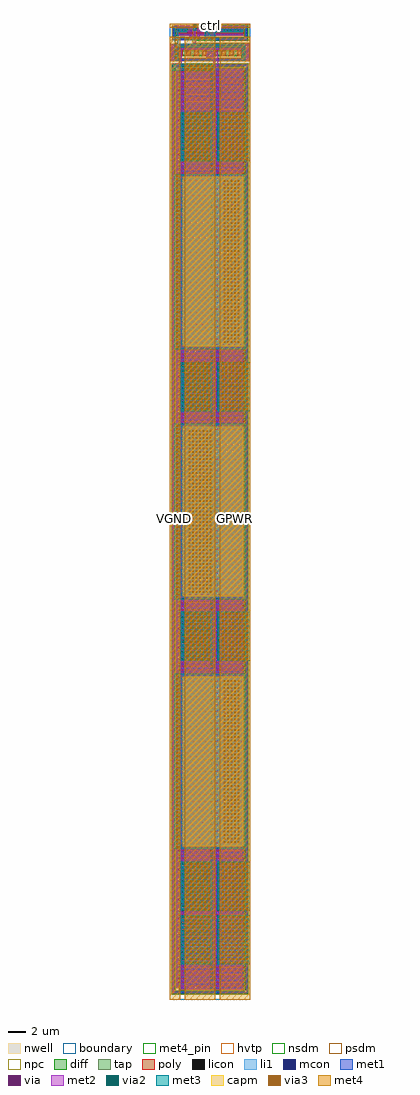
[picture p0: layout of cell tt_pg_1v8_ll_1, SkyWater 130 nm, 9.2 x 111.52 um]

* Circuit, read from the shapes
.subckt tt_pg_1v8_ll_1 GPWR VGND VPWR ctrl
XM1 VGND ctrl n1 VGND sky130_fd_pr__nfet_01v8 w=1.75 l=0.15
XM2 n2 n1 VGND VGND sky130_fd_pr__nfet_01v8 w=0.5 l=0.5
XM3 n3 n1 n2 VGND sky130_fd_pr__nfet_01v8 w=0.5 l=0.5
XM4 n4 n1 n3 VGND sky130_fd_pr__nfet_01v8 w=0.5 l=0.5
XM5 GPWR n1 n4 VGND sky130_fd_pr__nfet_01v8 w=0.5 l=0.5
XM6 n5 n1 GPWR VGND sky130_fd_pr__nfet_01v8 w=0.5 l=0.5
XM7 n6 n1 n5 VGND sky130_fd_pr__nfet_01v8 w=0.5 l=0.5
XM8 n7 n1 n6 VGND sky130_fd_pr__nfet_01v8 w=0.5 l=0.5
XM9 VGND n1 n7 VGND sky130_fd_pr__nfet_01v8 w=0.5 l=0.5
XM10 GPWR n1 VPWR VPWR sky130_fd_pr__pfet_01v8_hvt w=7.25 l=0.15 m=244
XM11 VPWR ctrl n1 VPWR sky130_fd_pr__pfet_01v8_hvt w=5.25 l=0.15
XC12 GPWR VGND sky130_fd_pr__cap_mim_m3_1 w=6.9 l=19.4 m=2
XC13 VPWR VGND sky130_fd_pr__cap_mim_m3_1 w=6.9 l=19.4
.ends

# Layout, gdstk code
import gdstk
lib = gdstk.Library(unit=1e-6, precision=1e-09)
def R(c, l, rs):  # rectangles x0, y0, x1, y1
    for r in rs: c.add(gdstk.rectangle(r[:2], r[2:], *l))
def A(c, l, x, y, w, h, nx, ny, dx, dy):  # array of equal rectangles
    R(c, l, [(x+i*dx, y+j*dy, x+i*dx+w, y+j*dy+h) for i in range(nx) for j in range(ny)])
nwell = (64, 20)
diff = (65, 20)
tap = (65, 44)
poly = (66, 20)
licon = (66, 44)
li1 = (67, 20)
mcon = (67, 44)
met1 = (68, 20)
via = (68, 44)
met2 = (69, 20)
via2 = (69, 44)
met3 = (70, 20)
via3 = (70, 44)
met4_pin = (71, 16)
met4 = (71, 20)
hvtp = (78, 44)
capm = (89, 44)
nsdm = (93, 44)
psdm = (94, 20)
npc = (95, 20)
boundary = (235, 4)

tt_pg_1v8_ll_1 = lib.new_cell('tt_pg_1v8_ll_1')
R(tt_pg_1v8_ll_1, nwell, [(0.15,0.55,9.05,107), (2.97,109.48,9.135,111.4)])
R(tt_pg_1v8_ll_1, diff, [(1.15,1.17,8.4,106.38), (0.63,107.75,0.92,107.88), (4.28,107.75,4.92,107.88), (8.28,107.75,8.57,107.88), (0.63,107.88,8.57,108.38), (0.63,108.38,0.92,108.73), (8.28,108.38,8.57,108.73), (0.8,110.1,2.55,110.78), (3.15,110.1,8.4,110.78)])
R(tt_pg_1v8_ll_1, tap, [(0.33,0.73,8.87,0.9), (0.33,0.9,0.5,106.65), (8.7,0.9,8.87,106.65), (0.33,106.65,8.87,106.82), (0.19,107.31,9.01,107.48), (0.19,107.48,0.36,109), (8.84,107.48,9.01,109), (0.19,109,9.01,109.17), (0.36,109.66,2.52,109.83), (3.18,109.66,8.84,109.83), (0.36,109.83,0.53,111.05), (8.67,109.83,8.84,111.05), (0.36,111.05,2.52,111.22), (3.18,111.05,8.84,111.22)])
A(tt_pg_1v8_ll_1, poly, 0.69, 1.455, 7.84, 0.15, 1, 244, 0, 0.43)
A(tt_pg_1v8_ll_1, poly, 0.69, 1.605, 0.27, 0.28, 1, 243, 0, 0.43)
A(tt_pg_1v8_ll_1, poly, 1, 107.75, 0.5, 0.79, 4, 1, 0.9, 0)
A(tt_pg_1v8_ll_1, poly, 5, 107.75, 0.5, 0.79, 4, 1, 0.9, 0)
R(tt_pg_1v8_ll_1, poly, [(0.69,1.365,0.96,1.455), (0.69,106.095,0.96,106.185), (1,108.54,8.2,108.81), (2.69,110.1,2.96,110.365), (0.67,110.365,8.53,110.515), (2.69,110.515,2.96,110.78)])
A(tt_pg_1v8_ll_1, licon, 0.775, 0.73, 0.17, 0.17, 23, 2, 0.34, 105.92)
A(tt_pg_1v8_ll_1, licon, 0.33, 1.16, 0.17, 0.17, 1, 310, 0, 0.34)
A(tt_pg_1v8_ll_1, licon, 8.7, 1.16, 0.17, 0.17, 1, 310, 0, 0.34)
A(tt_pg_1v8_ll_1, licon, 1.29, 1.23, 0.17, 0.17, 21, 245, 0.34, 0.43)
A(tt_pg_1v8_ll_1, licon, 0.74, 1.5, 0.17, 0.17, 1, 308, 0, 0.34)
A(tt_pg_1v8_ll_1, licon, 0.605, 107.31, 0.17, 0.17, 24, 2, 0.34, 1.69)
A(tt_pg_1v8_ll_1, licon, 0.19, 107.645, 0.17, 0.17, 1, 4, 0, 0.34)
A(tt_pg_1v8_ll_1, licon, 8.84, 107.645, 0.17, 0.17, 1, 4, 0, 0.34)
A(tt_pg_1v8_ll_1, licon, 0.69, 107.815, 0.17, 0.17, 1, 3, 0, 0.34)
A(tt_pg_1v8_ll_1, licon, 8.34, 107.815, 0.17, 0.17, 1, 3, 0, 0.34)
A(tt_pg_1v8_ll_1, licon, 1.295, 108.59, 0.17, 0.17, 20, 1, 0.34, 0)
A(tt_pg_1v8_ll_1, licon, 0.775, 109.66, 0.17, 0.17, 5, 2, 0.34, 1.39)
A(tt_pg_1v8_ll_1, licon, 3.445, 109.66, 0.17, 0.17, 15, 2, 0.34, 1.39)
A(tt_pg_1v8_ll_1, licon, 0.36, 110.015, 0.17, 0.17, 1, 3, 0, 0.34)
A(tt_pg_1v8_ll_1, licon, 8.67, 110.015, 0.17, 0.17, 1, 3, 0, 0.34)
A(tt_pg_1v8_ll_1, licon, 0.91, 110.14, 0.17, 0.17, 5, 2, 0.34, 0.43)
A(tt_pg_1v8_ll_1, licon, 3.31, 110.14, 0.17, 0.17, 15, 2, 0.34, 0.43)
R(tt_pg_1v8_ll_1, licon, [(4.345,107.81,4.515,107.98), (4.685,107.81,4.855,107.98), (4.345,108.15,4.515,108.32), (4.685,108.15,4.855,108.32), (2.74,110.185,2.91,110.355), (2.74,110.525,2.91,110.695)])
A(tt_pg_1v8_ll_1, li1, 1.11, 1.23, 7.33, 0.17, 1, 245, 0, 0.43)
R(tt_pg_1v8_ll_1, li1, [(0.33,0.73,8.87,0.9), (0.33,0.9,0.5,106.65), (8.7,0.9,8.87,106.65), (0.74,1.365,0.91,106.185), (0.33,106.65,8.87,106.82), (0.19,107.31,9.01,107.48), (0.19,107.48,0.36,109), (8.84,107.48,9.01,109), (0.63,107.71,0.92,108.77), (4.28,107.71,4.92,108.42), (8.28,107.71,8.57,108.77), (1.11,108.59,8.11,108.76), (0.19,109,9.01,109.17), (0.36,109.66,2.55,109.83), (3.15,109.66,8.84,109.83), (0.36,109.83,0.53,111.05), (8.67,109.83,8.84,111.05), (2.74,110.1,2.96,110.78), (0.78,110.14,2.57,110.31), (3.13,110.14,8.42,110.31), (0.78,110.57,2.57,110.74), (3.13,110.57,8.42,110.74), (0.36,111.05,2.55,111.22), (3.15,111.05,8.84,111.22)])
A(tt_pg_1v8_ll_1, mcon, 0.735, 0.73, 0.17, 0.17, 22, 2, 0.36, 105.92)
A(tt_pg_1v8_ll_1, mcon, 0.33, 1.13, 0.17, 0.17, 1, 293, 0, 0.36)
A(tt_pg_1v8_ll_1, mcon, 8.7, 1.13, 0.17, 0.17, 1, 293, 0, 0.36)
A(tt_pg_1v8_ll_1, mcon, 1.27, 1.23, 0.17, 0.17, 20, 245, 0.36, 0.43)
A(tt_pg_1v8_ll_1, mcon, 0.74, 1.49, 0.17, 0.17, 1, 291, 0, 0.36)
A(tt_pg_1v8_ll_1, mcon, 0.555, 107.31, 0.17, 0.17, 23, 2, 0.36, 1.69)
A(tt_pg_1v8_ll_1, mcon, 0.19, 107.795, 0.17, 0.17, 1, 3, 0, 0.36)
A(tt_pg_1v8_ll_1, mcon, 0.69, 107.795, 0.17, 0.17, 1, 3, 0, 0.36)
A(tt_pg_1v8_ll_1, mcon, 8.34, 107.795, 0.17, 0.17, 1, 3, 0, 0.36)
A(tt_pg_1v8_ll_1, mcon, 8.84, 107.795, 0.17, 0.17, 1, 3, 0, 0.36)
A(tt_pg_1v8_ll_1, mcon, 1.285, 108.59, 0.17, 0.17, 19, 1, 0.36, 0)
A(tt_pg_1v8_ll_1, mcon, 0.735, 109.66, 0.17, 0.17, 5, 2, 0.36, 1.39)
A(tt_pg_1v8_ll_1, mcon, 3.305, 109.66, 0.17, 0.17, 15, 2, 0.36, 1.39)
A(tt_pg_1v8_ll_1, mcon, 0.36, 109.995, 0.17, 0.17, 1, 3, 0, 0.36)
A(tt_pg_1v8_ll_1, mcon, 8.67, 109.995, 0.17, 0.17, 1, 3, 0, 0.36)
A(tt_pg_1v8_ll_1, mcon, 0.87, 110.14, 0.17, 0.17, 5, 2, 0.36, 0.43)
A(tt_pg_1v8_ll_1, mcon, 3.35, 110.14, 0.17, 0.17, 14, 2, 0.36, 0.43)
R(tt_pg_1v8_ll_1, mcon, [(4.335,107.78,4.505,107.95), (4.695,107.78,4.865,107.95), (4.335,108.14,4.505,108.31), (4.695,108.14,4.865,108.31), (2.765,110.175,2.935,110.345), (2.765,110.535,2.935,110.705)])
A(tt_pg_1v8_ll_1, met1, 1.13, 1.2, 7.29, 0.23, 1, 245, 0, 0.43)
R(tt_pg_1v8_ll_1, met1, [(0.27,0.7,8.9,0.93), (0.27,0.93,0.53,106.62), (8.67,0.93,8.9,106.62), (1.28,1.185,4.58,1.2), (0.69,1.365,0.96,106.185), (1.28,1.43,4.58,1.445), (4.97,1.615,8.27,1.63), (4.97,1.86,8.27,1.875), (1.28,2.045,4.58,2.06), (1.28,2.29,4.58,2.305), (4.97,2.475,8.27,2.49), (4.97,2.72,8.27,2.735), (1.28,2.905,4.58,2.92), (1.28,3.15,4.58,3.165), (4.97,3.335,8.27,3.35), (4.97,3.58,8.27,3.595), (1.28,3.765,4.58,3.78), (1.28,4.01,4.58,4.025), (4.97,4.195,8.27,4.21), (4.97,4.44,8.27,4.455), (1.28,4.625,4.58,4.64), (1.28,4.87,4.58,4.885), (4.97,5.055,8.27,5.07), (4.97,5.3,8.27,5.315), (1.28,5.485,4.58,5.5), (1.28,5.73,4.58,5.745), (4.97,5.915,8.27,5.93), (4.97,6.16,8.27,6.175), (1.28,6.345,4.58,6.36), (1.28,6.59,4.58,6.605), (4.97,6.775,8.27,6.79), (4.97,7.02,8.27,7.035), (1.28,7.205,4.58,7.22), (1.28,7.45,4.58,7.465), (4.97,7.635,8.27,7.65), (4.97,7.88,8.27,7.895), (1.28,8.065,4.58,8.08), (1.28,8.31,4.58,8.325), (4.97,8.495,8.27,8.51), (4.97,8.74,8.27,8.755), (1.28,8.925,4.58,8.94), (1.28,9.17,4.58,9.185), (4.97,9.355,8.27,9.37), (4.97,9.6,8.27,9.615), (1.28,9.785,4.58,9.8), (1.28,10.03,4.58,10.045), (4.97,10.215,8.27,10.23), (4.97,10.46,8.27,10.475), (1.28,10.645,4.58,10.66), (1.28,10.89,4.58,10.905), (4.97,11.075,8.27,11.09), (4.97,11.32,8.27,11.335), (1.28,11.505,4.58,11.52), (1.28,11.75,4.58,11.765), (4.97,11.935,8.27,11.95), (4.97,12.18,8.27,12.195), (1.28,12.365,4.58,12.38), (1.28,12.61,4.58,12.625), (4.97,12.795,8.27,12.81), (4.97,13.04,8.27,13.055), (1.28,13.225,4.58,13.24), (1.28,13.47,4.58,13.485), (4.97,13.655,8.27,13.67), (4.97,13.9,8.27,13.915), (1.28,14.085,4.58,14.1), (1.28,14.33,4.58,14.345), (4.97,14.515,8.27,14.53), (4.97,14.76,8.27,14.775), (1.28,14.945,4.58,14.96), (1.28,15.19,4.58,15.205), (4.97,15.375,8.27,15.39), (4.97,15.62,8.27,15.635), (1.28,15.805,4.58,15.82), (1.28,16.05,4.58,16.065), (4.97,16.235,8.27,16.25), (4.97,16.48,8.27,16.495), (1.28,16.665,4.58,16.68), (1.28,16.91,4.58,16.925), (4.97,17.095,8.27,17.11), (4.97,17.34,8.27,17.355), (1.28,17.525,4.58,17.54), (1.28,17.77,4.58,17.785), (4.97,17.955,8.27,17.97), (4.97,18.2,8.27,18.215), (1.28,18.385,4.58,18.4), (1.28,18.63,4.58,18.645), (4.97,18.815,8.27,18.83), (4.97,19.06,8.27,19.075), (1.28,19.245,4.58,19.26), (1.28,19.49,4.58,19.505), (4.97,19.675,8.27,19.69), (4.97,19.92,8.27,19.935), (1.28,20.105,4.58,20.12), (1.28,20.35,4.58,20.365), (4.97,20.535,8.27,20.55), (4.97,20.78,8.27,20.795), (1.28,20.965,4.58,20.98), (1.28,21.21,4.58,21.225), (4.97,21.395,8.27,21.41), (4.97,21.64,8.27,21.655), (1.28,21.825,4.58,21.84), (1.28,22.07,4.58,22.085), (4.97,22.255,8.27,22.27), (4.97,22.5,8.27,22.515), (1.28,22.685,4.58,22.7), (1.28,22.93,4.58,22.945), (4.97,23.115,8.27,23.13), (4.97,23.36,8.27,23.375), (1.28,23.545,4.58,23.56), (1.28,23.79,4.58,23.805), (4.97,23.975,8.27,23.99), (4.97,24.22,8.27,24.235), (1.28,24.405,4.58,24.42), (1.28,24.65,4.58,24.665), (4.97,24.835,8.27,24.85), (4.97,25.08,8.27,25.095), (1.28,25.265,4.58,25.28), (1.28,25.51,4.58,25.525), (4.97,25.695,8.27,25.71), (4.97,25.94,8.27,25.955), (1.28,26.125,4.58,26.14), (1.28,26.37,4.58,26.385), (4.97,26.555,8.27,26.57), (4.97,26.8,8.27,26.815), (1.28,26.985,4.58,27), (1.28,27.23,4.58,27.245), (4.97,27.415,8.27,27.43), (4.97,27.66,8.27,27.675), (1.28,27.845,4.58,27.86), (1.28,28.09,4.58,28.105), (4.97,28.275,8.27,28.29), (4.97,28.52,8.27,28.535), (1.28,28.705,4.58,28.72), (1.28,28.95,4.58,28.965), (4.97,29.135,8.27,29.15), (4.97,29.38,8.27,29.395), (1.28,29.565,4.58,29.58), (1.28,29.81,4.58,29.825), (4.97,29.995,8.27,30.01), (4.97,30.24,8.27,30.255), (1.28,30.425,4.58,30.44), (1.28,30.67,4.58,30.685), (4.97,30.855,8.27,30.87), (4.97,31.1,8.27,31.115), (1.28,31.285,4.58,31.3), (1.28,31.53,4.58,31.545), (4.97,31.715,8.27,31.73), (4.97,31.96,8.27,31.975), (1.28,32.145,4.58,32.16), (1.28,32.39,4.58,32.405), (4.97,32.575,8.27,32.59), (4.97,32.82,8.27,32.835), (1.28,33.005,4.58,33.02), (1.28,33.25,4.58,33.265), (4.97,33.435,8.27,33.45), (4.97,33.68,8.27,33.695), (1.28,33.865,4.58,33.88), (1.28,34.11,4.58,34.125), (4.97,34.295,8.27,34.31), (4.97,34.54,8.27,34.555), (1.28,34.725,4.58,34.74), (1.28,34.97,4.58,34.985), (4.97,35.155,8.27,35.17), (4.97,35.4,8.27,35.415), (1.28,35.585,4.58,35.6), (1.28,35.83,4.58,35.845), (4.97,36.015,8.27,36.03), (4.97,36.26,8.27,36.275), (1.28,36.445,4.58,36.46), (1.28,36.69,4.58,36.705), (4.97,36.875,8.27,36.89), (4.97,37.12,8.27,37.135), (1.28,37.305,4.58,37.32), (1.28,37.55,4.58,37.565), (4.97,37.735,8.27,37.75), (4.97,37.98,8.27,37.995), (1.28,38.165,4.58,38.18), (1.28,38.41,4.58,38.425), (4.97,38.595,8.27,38.61), (4.97,38.84,8.27,38.855), (1.28,39.025,4.58,39.04), (1.28,39.27,4.58,39.285), (4.97,39.455,8.27,39.47), (4.97,39.7,8.27,39.715), (1.28,39.885,4.58,39.9), (1.28,40.13,4.58,40.145), (4.97,40.315,8.27,40.33), (4.97,40.56,8.27,40.575), (1.28,40.745,4.58,40.76), (1.28,40.99,4.58,41.005), (4.97,41.175,8.27,41.19), (4.97,41.42,8.27,41.435), (1.28,41.605,4.58,41.62), (1.28,41.85,4.58,41.865), (4.97,42.035,8.27,42.05), (4.97,42.28,8.27,42.295), (1.28,42.465,4.58,42.48), (1.28,42.71,4.58,42.725), (4.97,42.895,8.27,42.91), (4.97,43.14,8.27,43.155), (1.28,43.325,4.58,43.34), (1.28,43.57,4.58,43.585), (4.97,43.755,8.27,43.77), (4.97,44,8.27,44.015), (1.28,44.185,4.58,44.2), (1.28,44.43,4.58,44.445), (4.97,44.615,8.27,44.63), (4.97,44.86,8.27,44.875), (1.28,45.045,4.58,45.06), (1.28,45.29,4.58,45.305), (4.97,45.475,8.27,45.49), (4.97,45.72,8.27,45.735), (1.28,45.905,4.58,45.92), (1.28,46.15,4.58,46.165), (4.97,46.335,8.27,46.35), (4.97,46.58,8.27,46.595), (1.28,46.765,4.58,46.78), (1.28,47.01,4.58,47.025), (4.97,47.195,8.27,47.21), (4.97,47.44,8.27,47.455), (1.28,47.625,4.58,47.64), (1.28,47.87,4.58,47.885), (4.97,48.055,8.27,48.07), (4.97,48.3,8.27,48.315), (1.28,48.485,4.58,48.5), (1.28,48.73,4.58,48.745), (4.97,48.915,8.27,48.93), (4.97,49.16,8.27,49.175), (1.28,49.345,4.58,49.36), (1.28,49.59,4.58,49.605), (4.97,49.775,8.27,49.79), (4.97,50.02,8.27,50.035), (1.28,50.205,4.58,50.22), (1.28,50.45,4.58,50.465), (4.97,50.635,8.27,50.65), (4.97,50.88,8.27,50.895), (1.28,51.065,4.58,51.08), (1.28,51.31,4.58,51.325), (4.97,51.495,8.27,51.51), (4.97,51.74,8.27,51.755), (1.28,51.925,4.58,51.94), (1.28,52.17,4.58,52.185), (4.97,52.355,8.27,52.37), (4.97,52.6,8.27,52.615), (1.28,52.785,4.58,52.8), (1.28,53.03,4.58,53.045), (4.97,53.215,8.27,53.23), (4.97,53.46,8.27,53.475), (1.28,53.645,4.58,53.66), (1.28,53.89,4.58,53.905), (4.97,54.075,8.27,54.09), (4.97,54.32,8.27,54.335), (1.28,54.505,4.58,54.52), (1.28,54.75,4.58,54.765), (4.97,54.935,8.27,54.95), (4.97,55.18,8.27,55.195), (1.28,55.365,4.58,55.38), (1.28,55.61,4.58,55.625), (4.97,55.795,8.27,55.81), (4.97,56.04,8.27,56.055), (1.28,56.225,4.58,56.24), (1.28,56.47,4.58,56.485), (4.97,56.655,8.27,56.67), (4.97,56.9,8.27,56.915), (1.28,57.085,4.58,57.1), (1.28,57.33,4.58,57.345), (4.97,57.515,8.27,57.53), (4.97,57.76,8.27,57.775), (1.28,57.945,4.58,57.96), (1.28,58.19,4.58,58.205), (4.97,58.375,8.27,58.39), (4.97,58.62,8.27,58.635), (1.28,58.805,4.58,58.82), (1.28,59.05,4.58,59.065), (4.97,59.235,8.27,59.25), (4.97,59.48,8.27,59.495), (1.28,59.665,4.58,59.68), (1.28,59.91,4.58,59.925), (4.97,60.095,8.27,60.11), (4.97,60.34,8.27,60.355), (1.28,60.525,4.58,60.54), (1.28,60.77,4.58,60.785), (4.97,60.955,8.27,60.97), (4.97,61.2,8.27,61.215), (1.28,61.385,4.58,61.4), (1.28,61.63,4.58,61.645), (4.97,61.815,8.27,61.83), (4.97,62.06,8.27,62.075), (1.28,62.245,4.58,62.26), (1.28,62.49,4.58,62.505), (4.97,62.675,8.27,62.69), (4.97,62.92,8.27,62.935), (1.28,63.105,4.58,63.12), (1.28,63.35,4.58,63.365), (4.97,63.535,8.27,63.55), (4.97,63.78,8.27,63.795), (1.28,63.965,4.58,63.98), (1.28,64.21,4.58,64.225), (4.97,64.395,8.27,64.41), (4.97,64.64,8.27,64.655), (1.28,64.825,4.58,64.84), (1.28,65.07,4.58,65.085), (4.97,65.255,8.27,65.27), (4.97,65.5,8.27,65.515), (1.28,65.685,4.58,65.7), (1.28,65.93,4.58,65.945), (4.97,66.115,8.27,66.13), (4.97,66.36,8.27,66.375), (1.28,66.545,4.58,66.56), (1.28,66.79,4.58,66.805), (4.97,66.975,8.27,66.99), (4.97,67.22,8.27,67.235), (1.28,67.405,4.58,67.42), (1.28,67.65,4.58,67.665), (4.97,67.835,8.27,67.85), (4.97,68.08,8.27,68.095), (1.28,68.265,4.58,68.28), (1.28,68.51,4.58,68.525), (4.97,68.695,8.27,68.71), (4.97,68.94,8.27,68.955), (1.28,69.125,4.58,69.14), (1.28,69.37,4.58,69.385), (4.97,69.555,8.27,69.57), (4.97,69.8,8.27,69.815), (1.28,69.985,4.58,70), (1.28,70.23,4.58,70.245), (4.97,70.415,8.27,70.43), (4.97,70.66,8.27,70.675), (1.28,70.845,4.58,70.86), (1.28,71.09,4.58,71.105), (4.97,71.275,8.27,71.29), (4.97,71.52,8.27,71.535), (1.28,71.705,4.58,71.72), (1.28,71.95,4.58,71.965), (4.97,72.135,8.27,72.15), (4.97,72.38,8.27,72.395), (1.28,72.565,4.58,72.58), (1.28,72.81,4.58,72.825), (4.97,72.995,8.27,73.01), (4.97,73.24,8.27,73.255), (1.28,73.425,4.58,73.44), (1.28,73.67,4.58,73.685), (4.97,73.855,8.27,73.87), (4.97,74.1,8.27,74.115), (1.28,74.285,4.58,74.3), (1.28,74.53,4.58,74.545), (4.97,74.715,8.27,74.73), (4.97,74.96,8.27,74.975), (1.28,75.145,4.58,75.16), (1.28,75.39,4.58,75.405), (4.97,75.575,8.27,75.59), (4.97,75.82,8.27,75.835), (1.28,76.005,4.58,76.02), (1.28,76.25,4.58,76.265), (4.97,76.435,8.27,76.45), (4.97,76.68,8.27,76.695), (1.28,76.865,4.58,76.88), (1.28,77.11,4.58,77.125), (4.97,77.295,8.27,77.31), (4.97,77.54,8.27,77.555), (1.28,77.725,4.58,77.74), (1.28,77.97,4.58,77.985), (4.97,78.155,8.27,78.17), (4.97,78.4,8.27,78.415), (1.28,78.585,4.58,78.6), (1.28,78.83,4.58,78.845), (4.97,79.015,8.27,79.03), (4.97,79.26,8.27,79.275), (1.28,79.445,4.58,79.46), (1.28,79.69,4.58,79.705), (4.97,79.875,8.27,79.89), (4.97,80.12,8.27,80.135), (1.28,80.305,4.58,80.32), (1.28,80.55,4.58,80.565), (4.97,80.735,8.27,80.75), (4.97,80.98,8.27,80.995), (1.28,81.165,4.58,81.18), (1.28,81.41,4.58,81.425), (4.97,81.595,8.27,81.61), (4.97,81.84,8.27,81.855), (1.28,82.025,4.58,82.04), (1.28,82.27,4.58,82.285), (4.97,82.455,8.27,82.47), (4.97,82.7,8.27,82.715), (1.28,82.885,4.58,82.9), (1.28,83.13,4.58,83.145), (4.97,83.315,8.27,83.33), (4.97,83.56,8.27,83.575), (1.28,83.745,4.58,83.76), (1.28,83.99,4.58,84.005), (4.97,84.175,8.27,84.19), (4.97,84.42,8.27,84.435), (1.28,84.605,4.58,84.62), (1.28,84.85,4.58,84.865), (4.97,85.035,8.27,85.05), (4.97,85.28,8.27,85.295), (1.28,85.465,4.58,85.48), (1.28,85.71,4.58,85.725), (4.97,85.895,8.27,85.91), (4.97,86.14,8.27,86.155), (1.28,86.325,4.58,86.34), (1.28,86.57,4.58,86.585), (4.97,86.755,8.27,86.77), (4.97,87,8.27,87.015), (1.28,87.185,4.58,87.2), (1.28,87.43,4.58,87.445), (4.97,87.615,8.27,87.63), (4.97,87.86,8.27,87.875), (1.28,88.045,4.58,88.06), (1.28,88.29,4.58,88.305), (4.97,88.475,8.27,88.49), (4.97,88.72,8.27,88.735), (1.28,88.905,4.58,88.92), (1.28,89.15,4.58,89.165), (4.97,89.335,8.27,89.35), (4.97,89.58,8.27,89.595), (1.28,89.765,4.58,89.78), (1.28,90.01,4.58,90.025), (4.97,90.195,8.27,90.21), (4.97,90.44,8.27,90.455), (1.28,90.625,4.58,90.64), (1.28,90.87,4.58,90.885), (4.97,91.055,8.27,91.07), (4.97,91.3,8.27,91.315), (1.28,91.485,4.58,91.5), (1.28,91.73,4.58,91.745), (4.97,91.915,8.27,91.93), (4.97,92.16,8.27,92.175), (1.28,92.345,4.58,92.36), (1.28,92.59,4.58,92.605), (4.97,92.775,8.27,92.79), (4.97,93.02,8.27,93.035), (1.28,93.205,4.58,93.22), (1.28,93.45,4.58,93.465), (4.97,93.635,8.27,93.65), (4.97,93.88,8.27,93.895), (1.28,94.065,4.58,94.08), (1.28,94.31,4.58,94.325), (4.97,94.495,8.27,94.51), (4.97,94.74,8.27,94.755), (1.28,94.925,4.58,94.94), (1.28,95.17,4.58,95.185), (4.97,95.355,8.27,95.37), (4.97,95.6,8.27,95.615), (1.28,95.785,4.58,95.8), (1.28,96.03,4.58,96.045), (4.97,96.215,8.27,96.23), (4.97,96.46,8.27,96.475), (1.28,96.645,4.58,96.66), (1.28,96.89,4.58,96.905), (4.97,97.075,8.27,97.09), (4.97,97.32,8.27,97.335), (1.28,97.505,4.58,97.52), (1.28,97.75,4.58,97.765), (4.97,97.935,8.27,97.95), (4.97,98.18,8.27,98.195), (1.28,98.365,4.58,98.38), (1.28,98.61,4.58,98.625), (4.97,98.795,8.27,98.81), (4.97,99.04,8.27,99.055), (1.28,99.225,4.58,99.24), (1.28,99.47,4.58,99.485), (4.97,99.655,8.27,99.67), (4.97,99.9,8.27,99.915), (1.28,100.085,4.58,100.1), (1.28,100.33,4.58,100.345), (4.97,100.515,8.27,100.53), (4.97,100.76,8.27,100.775), (1.28,100.945,4.58,100.96), (1.28,101.19,4.58,101.205), (4.97,101.375,8.27,101.39), (4.97,101.62,8.27,101.635), (1.28,101.805,4.58,101.82), (1.28,102.05,4.58,102.065), (4.97,102.235,8.27,102.25), (4.97,102.48,8.27,102.495), (1.28,102.665,4.58,102.68), (1.28,102.91,4.58,102.925), (4.97,103.095,8.27,103.11), (4.97,103.34,8.27,103.355), (1.28,103.525,4.58,103.54), (1.28,103.77,4.58,103.785), (4.97,103.955,8.27,103.97), (4.97,104.2,8.27,104.215), (1.28,104.385,4.58,104.4), (1.28,104.63,4.58,104.645), (4.97,104.815,8.27,104.83), (4.97,105.06,8.27,105.075), (1.28,105.245,4.58,105.26), (1.28,105.49,4.58,105.505), (4.97,105.675,8.27,105.69), (4.97,105.92,8.27,105.935), (1.28,106.105,4.58,106.12), (1.28,106.35,4.58,106.365), (0.27,106.62,8.9,106.85), (0.16,107.28,9.04,107.51), (0.16,107.51,0.95,108.97), (8.25,107.51,9.04,108.97), (4.25,107.69,4.95,108.38), (1.11,108.53,3.7,108.56), (5.52,108.53,8.11,108.56), (1.11,108.56,8.11,108.79), (0.16,108.97,9.04,109.2), (0.33,109.63,2.55,109.86), (3.15,109.63,8.87,109.86), (0.33,109.86,0.56,111.02), (8.64,109.86,8.87,111.02), (2.72,110.04,2.98,110.84), (0.8,110.095,2.55,110.355), (3.15,110.095,8.4,110.355), (0.8,110.54,2.55,111.02), (3.15,110.54,8.4,111.02), (0.33,111.02,2.55,111.25), (3.15,111.02,8.87,111.25)])
A(tt_pg_1v8_ll_1, via, 0.325, 0.9, 0.15, 0.15, 1, 331, 0, 0.32)
A(tt_pg_1v8_ll_1, via, 1.415, 1.24, 0.15, 0.15, 10, 123, 0.32, 0.86)
A(tt_pg_1v8_ll_1, via, 0.75, 1.54, 0.15, 0.15, 1, 327, 0, 0.32)
A(tt_pg_1v8_ll_1, via, 5.105, 1.67, 0.15, 0.15, 10, 122, 0.32, 0.86)
A(tt_pg_1v8_ll_1, via, 0.32, 107.365, 0.15, 0.15, 1, 6, 0, 0.32)
A(tt_pg_1v8_ll_1, via, 0.64, 107.365, 0.15, 0.15, 1, 6, 0, 0.32)
A(tt_pg_1v8_ll_1, via, 8.41, 107.365, 0.15, 0.15, 1, 6, 0, 0.32)
A(tt_pg_1v8_ll_1, via, 8.73, 107.365, 0.15, 0.15, 1, 6, 0, 0.32)
A(tt_pg_1v8_ll_1, via, 1.21, 108.585, 0.15, 0.15, 8, 1, 0.32, 0)
A(tt_pg_1v8_ll_1, via, 5.62, 108.585, 0.15, 0.15, 8, 1, 0.32, 0)
A(tt_pg_1v8_ll_1, via, 0.96, 110.15, 0.15, 0.15, 5, 2, 0.32, 0.51)
A(tt_pg_1v8_ll_1, via, 3.3, 110.15, 0.15, 0.15, 16, 2, 0.32, 0.51)
A(tt_pg_1v8_ll_1, via, 0.96, 110.98, 0.15, 0.15, 5, 1, 0.32, 0)
A(tt_pg_1v8_ll_1, via, 3.3, 110.98, 0.15, 0.15, 16, 1, 0.32, 0)
R(tt_pg_1v8_ll_1, via, [(4.365,107.75,4.515,107.9), (4.685,107.75,4.835,107.9), (4.365,108.07,4.515,108.22), (4.685,108.07,4.835,108.22), (2.775,110.205,2.925,110.355), (2.775,110.525,2.925,110.675)])
R(tt_pg_1v8_ll_1, met2, [(0.27,0.7,0.53,106.105), (1.28,1.185,4.58,106.365), (4.97,1.185,8.27,106.365), (0.69,1.365,0.96,106.685), (0.25,106.105,0.53,106.895), (4.97,106.365,5.56,107.69), (0.69,106.685,1.38,106.955), (1.11,106.955,1.38,108.53), (0.16,107.28,0.95,109.2), (8.25,107.28,9.04,109.2), (4.25,107.69,5.56,108.28), (1.11,108.53,8.11,108.79), (2.72,108.79,2.98,109.61), (2.29,109.61,3.41,109.87), (2.29,109.87,2.55,110.095), (3.15,109.87,3.41,110.095), (2.72,110.04,2.98,110.7), (0.8,110.095,2.55,110.355), (3.15,110.095,8.4,110.355), (0.8,110.54,2.55,111.25), (3.15,110.54,8.4,111.25), (2.71,110.7,2.99,111.4)])
A(tt_pg_1v8_ll_1, via2, 1.43, 4.12, 0.2, 0.2, 8, 14, 0.4, 0.4)
A(tt_pg_1v8_ll_1, via2, 5.535, 4.12, 0.2, 0.2, 7, 14, 0.4, 0.4)
A(tt_pg_1v8_ll_1, via2, 1.43, 10.22, 0.2, 0.2, 8, 14, 0.4, 0.4)
A(tt_pg_1v8_ll_1, via2, 5.535, 10.22, 0.2, 0.2, 7, 14, 0.4, 0.4)
A(tt_pg_1v8_ll_1, via2, 1.43, 38.79, 0.2, 0.2, 8, 14, 0.4, 0.4)
A(tt_pg_1v8_ll_1, via2, 5.535, 38.79, 0.2, 0.2, 7, 14, 0.4, 0.4)
A(tt_pg_1v8_ll_1, via2, 1.43, 67.34, 0.2, 0.2, 8, 14, 0.4, 0.4)
A(tt_pg_1v8_ll_1, via2, 5.535, 67.34, 0.2, 0.2, 7, 14, 0.4, 0.4)
A(tt_pg_1v8_ll_1, via2, 1.43, 95.9, 0.2, 0.2, 8, 14, 0.4, 0.4)
A(tt_pg_1v8_ll_1, via2, 5.535, 95.9, 0.2, 0.2, 7, 14, 0.4, 0.4)
A(tt_pg_1v8_ll_1, via2, 0.65, 107.54, 0.2, 0.2, 1, 4, 0, 0.4)
A(tt_pg_1v8_ll_1, via2, 8.35, 107.54, 0.2, 0.2, 1, 4, 0, 0.4)
A(tt_pg_1v8_ll_1, via2, 4.1, 110.615, 0.2, 0.2, 11, 1, 0.4, 0)
A(tt_pg_1v8_ll_1, via2, 0.9, 110.64, 0.2, 0.2, 3, 1, 0.4, 0)
R(tt_pg_1v8_ll_1, via2, [(0.29,106.2,0.49,106.4), (0.29,106.6,0.49,106.8), (2.75,110.95,2.95,111.15)])
A(tt_pg_1v8_ll_1, met3, 0.5, 17.2, 8.2, 20, 1, 3, 0, 28.56)
R(tt_pg_1v8_ll_1, met3, [(1.28,4.02,4.8,9.62), (5.4,4.02,9.2,9.62), (1.28,10.12,4.8,15.72), (5.4,10.12,9.2,15.72), (1.28,38.69,4.8,44.29), (5.4,38.69,9.2,44.29), (1.28,67.24,4.8,72.84), (5.4,67.24,9.2,72.84), (1.28,95.8,4.8,101.4), (5.4,95.8,9.2,101.4), (0.225,106.125,5.225,106.875), (0.55,107.28,0.95,108.8), (8.25,107.28,8.65,108.8), (0.55,108.8,8.65,109.2), (0.55,109.2,0.95,110.54), (1.7,109.6,5.2,110), (4,110,5.2,110.54), (0.55,110.54,2,110.94), (4,110.54,8.4,110.89), (2.675,110.7,3.025,111.4)])
A(tt_pg_1v8_ll_1, via3, 1.95, 4.12, 0.2, 0.2, 7, 14, 0.4, 0.4)
A(tt_pg_1v8_ll_1, via3, 5.95, 4.12, 0.2, 0.2, 8, 14, 0.4, 0.4)
A(tt_pg_1v8_ll_1, via3, 1.95, 10.22, 0.2, 0.2, 7, 14, 0.4, 0.4)
A(tt_pg_1v8_ll_1, via3, 5.95, 10.22, 0.2, 0.2, 8, 14, 0.4, 0.4)
A(tt_pg_1v8_ll_1, via3, 0.75, 17.3, 0.2, 0.2, 1, 50, 0, 0.4)
A(tt_pg_1v8_ll_1, via3, 6.15, 17.9, 0.2, 0.2, 5, 47, 0.4, 0.4)
A(tt_pg_1v8_ll_1, via3, 1.95, 38.79, 0.2, 0.2, 7, 14, 0.4, 0.4)
A(tt_pg_1v8_ll_1, via3, 5.95, 38.79, 0.2, 0.2, 8, 14, 0.4, 0.4)
A(tt_pg_1v8_ll_1, via3, 0.75, 45.86, 0.2, 0.2, 1, 50, 0, 0.4)
A(tt_pg_1v8_ll_1, via3, 2.15, 46.46, 0.2, 0.2, 7, 47, 0.4, 0.4)
A(tt_pg_1v8_ll_1, via3, 1.95, 67.34, 0.2, 0.2, 7, 14, 0.4, 0.4)
A(tt_pg_1v8_ll_1, via3, 5.95, 67.34, 0.2, 0.2, 8, 14, 0.4, 0.4)
A(tt_pg_1v8_ll_1, via3, 0.75, 74.42, 0.2, 0.2, 1, 50, 0, 0.4)
A(tt_pg_1v8_ll_1, via3, 6.15, 75.02, 0.2, 0.2, 5, 47, 0.4, 0.4)
A(tt_pg_1v8_ll_1, via3, 1.95, 95.9, 0.2, 0.2, 7, 14, 0.4, 0.4)
A(tt_pg_1v8_ll_1, via3, 5.95, 95.9, 0.2, 0.2, 8, 14, 0.4, 0.4)
A(tt_pg_1v8_ll_1, via3, 1.95, 106.2, 0.2, 0.2, 8, 2, 0.4, 0.4)
A(tt_pg_1v8_ll_1, via3, 0.65, 107.54, 0.2, 0.2, 1, 6, 0, 0.4)
A(tt_pg_1v8_ll_1, via3, 1.95, 109.7, 0.2, 0.2, 8, 1, 0.4, 0)
R(tt_pg_1v8_ll_1, via3, [(2.75,111.095,2.95,111.295)])
R(tt_pg_1v8_ll_1, met4_pin, [(0,0,1.2,110), (1.7,0,5.2,110), (5.7,0,9.2,110), (0,111.02,9.2,111.52)])
R(tt_pg_1v8_ll_1, met4, [(0,0,1.2,110), (1.7,0,5.2,110), (5.7,0,9.2,110), (0,111.02,9.2,111.52)])
R(tt_pg_1v8_ll_1, hvtp, [(0.97,1.275,8.58,106.275), (2.97,110.185,8.58,110.695)])
A(tt_pg_1v8_ll_1, capm, 1.5, 17.5, 6.9, 19.4, 1, 3, 0, 28.56)
R(tt_pg_1v8_ll_1, nsdm, [(0.205,0.605,8.995,1.025), (0.205,1.025,0.625,106.525), (8.575,1.025,8.995,106.525), (0.205,106.525,8.995,106.945), (0.505,107.625,1.045,107.755), (4.155,107.625,5.045,107.755), (8.155,107.625,8.695,107.755), (0.505,107.755,8.695,108.505), (0.505,108.505,1.045,108.855), (8.155,108.505,8.695,108.855), (3.055,109.535,8.965,109.955), (8.545,109.955,8.965,110.925), (0.675,109.975,2.675,110.905), (3.055,110.925,8.965,111.345)])
R(tt_pg_1v8_ll_1, psdm, [(1.025,1.045,8.525,106.505), (0.065,107.185,9.135,107.605), (0.065,107.605,0.485,108.875), (8.715,107.605,9.135,108.875), (0.065,108.875,9.135,109.295), (0.235,109.295,2.645,109.955), (0.235,109.955,0.655,110.925), (3.025,109.975,8.525,110.905), (0.235,110.925,2.645,111.345)])
R(tt_pg_1v8_ll_1, npc, [(0.64,1.4,1.01,106.15), (1.195,108.49,8.025,108.86), (2.64,110.085,3.01,110.795)])
R(tt_pg_1v8_ll_1, boundary, [(0,0,9.2,111.52)])
tt_pg_1v8_ll_1.add(gdstk.Label('VGND', (0.6,55), layer=71, texttype=5))
tt_pg_1v8_ll_1.add(gdstk.Label('VPWR', (3.45,55), layer=71, texttype=5))
tt_pg_1v8_ll_1.add(gdstk.Label('GPWR', (7.45,55), layer=71, texttype=5))
tt_pg_1v8_ll_1.add(gdstk.Label('ctrl', (4.6,111.27), layer=71, texttype=5))

lib.write_gds('tt_pg_1v8_ll_1.gds')
